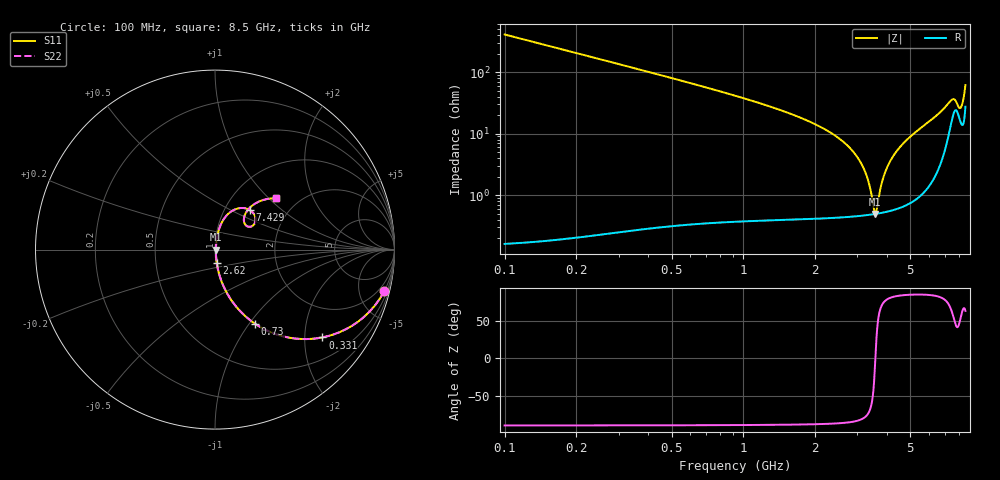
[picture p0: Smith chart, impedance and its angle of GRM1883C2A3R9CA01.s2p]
!Murata Part Number: GRM1883C2A3R9CA01
!These Parameters are Measured in Series Mode Connection
!Data Generated on Mar 30, 2021
!  o--ll--o
!Port1  Port2
!  o------o
!Operation Temp=25[degC], DC Bias Voltage=0[V]
!Freq. Start=100[MHz] Stop=9[GHz] 401[Steps]
# Hz S RI R 50
!Freq.(Hz) S11(Real) S11(Imag) S21(Real) S21(Imag) S12(Real) S12(Imag) S22(Real) S22(Imag)
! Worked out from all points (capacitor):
!   401 points, 100 MHz to 8.5 GHz, reference 50 ohm
!   read as one part in series: C = 3.9 pF near 142 MHz
!   lowest |Z| = 496 mohm at 3.565 GHz (marker M1)
!   series resonance near 3.569 GHz, so ESL is about 510 pH
!   S11 on the Smith chart (normalised r, x): 100 MHz: 1.00, -8.15; 331 MHz: 1.01, -2.44; 730 MHz: 1.01, -1.07; 2.62 GHz: 1.01, -0.15; 7.429 GHz: 1.31, +0.63; 8.5 GHz: 1.55, +1.10
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1e8  0.9432 -0.2313  0.0568 0.2313  0.0568 0.2313  0.9432 -0.2313
2.05e8  0.7971 -0.4017  0.2029 0.4017  0.2029 0.4017  0.7971 -0.4017
3.31e8  0.5985 -0.4891  0.4015 0.4891  0.4015 0.4891  0.5985 -0.4891
5.2e8  0.3713 -0.4811  0.6287 0.4811  0.6287 0.4811  0.3713 -0.4811
7.3e8  0.2245 -0.414  0.7755 0.414  0.7755 0.414  0.2245 -0.414
1.507e9  0.0511 -0.2115  0.9489 0.2115  0.9489 0.2115  0.0511 -0.2115
2.62e9  0.00966 -0.0725  0.9903 0.0725  0.9903 0.0725  0.00966 -0.0725
2.914e9  0.00678 -0.0476  0.9932 0.0476  0.9932 0.0476  0.00678 -0.0476
3.271e9  0.00513 -0.0206  0.9949 0.0206  0.9949 0.0206  0.00513 -0.0206
3.565e9  0.00493 -0.000243  0.9951 0.000243  0.9951 0.000243  0.00493 -0.000243
3.607e9  0.00497 0.00255  0.995 -0.00255  0.995 -0.00255  0.00497 0.00255
3.754e9  0.00525 0.0121  0.9947 -0.0121  0.9947 -0.0121  0.00525 0.0121
3.88e9  0.00564 0.0202  0.9944 -0.0202  0.9944 -0.0202  0.00564 0.0202
4.3e9  0.00791 0.0459  0.9921 -0.0459  0.9921 -0.0459  0.00791 0.0459
4.867e9  0.0134 0.0794  0.9866 -0.0794  0.9866 -0.0794  0.0134 0.0794
5.707e9  0.0284 0.1302  0.9716 -0.1302  0.9716 -0.1302  0.0284 0.1302
7.114e9  0.1274 0.2292  0.8726 -0.2292  0.8726 -0.2292  0.1274 0.2292
7.429e9  0.1931 0.2208  0.8069 -0.2208  0.8069 -0.2208  0.1931 0.2208
7.702e9  0.2255 0.16  0.7745 -0.16  0.7745 -0.16  0.2255 0.16
8.08e9  0.1646 0.1462  0.8354 -0.1462  0.8354 -0.1462  0.1646 0.1462
8.311e9  0.1855 0.2242  0.8145 -0.2242  0.8145 -0.2242  0.1855 0.2242
8.5e9  0.3384 0.2858  0.6616 -0.2858  0.6616 -0.2858  0.3384 0.2858
